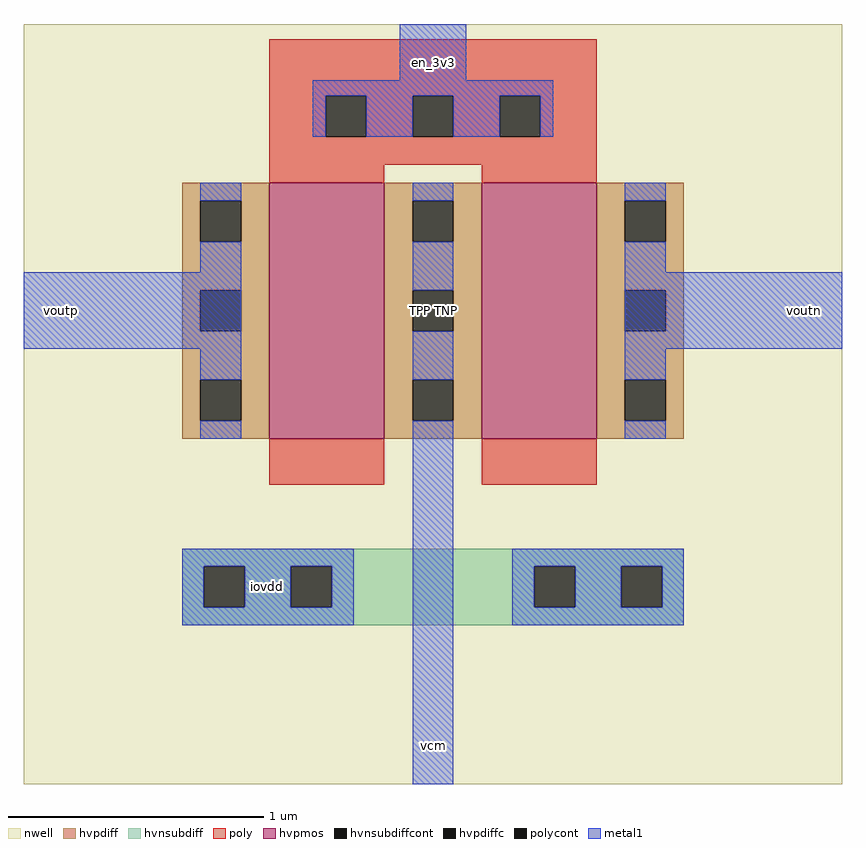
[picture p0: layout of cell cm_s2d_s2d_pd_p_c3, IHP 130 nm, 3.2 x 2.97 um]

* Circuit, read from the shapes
.subckt cm_s2d_s2d_pd_p_c3 iovdd en_3v3 vcm voutp voutn
XM1 vcm en_3v3 voutp iovdd sg13_hv_pmos w=1u l=0.45u
XM2 voutn en_3v3 vcm iovdd sg13_hv_pmos w=1u l=0.45u
.ends

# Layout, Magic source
magic
tech ihp-sg13cmos5l
magscale 1 2
<< nwell >>
rect 0 0 640 594
<< hvnsubdiff >>
rect 124 170 516 184
rect 124 138 141 170
rect 173 138 209 170
rect 241 138 399 170
rect 431 138 467 170
rect 499 138 516 170
rect 124 124 516 138
<< hvnsubdiffcont >>
rect 141 138 173 170
rect 209 138 241 170
rect 399 138 431 170
rect 467 138 499 170
<< poly >>
rect 192 538 448 582
rect 192 506 236 538
rect 268 506 304 538
rect 336 506 372 538
rect 404 506 448 538
rect 192 484 448 506
rect 192 470 282 484
rect 358 470 448 484
<< polycont >>
rect 236 506 268 538
rect 304 506 336 538
rect 372 506 404 538
<< metal1 >>
rect 294 550 346 594
rect 226 538 414 550
rect 226 506 236 538
rect 268 506 304 538
rect 336 506 372 538
rect 404 506 414 538
rect 0 340 170 400
rect 470 340 640 400
rect 124 170 258 184
rect 124 138 141 170
rect 173 138 209 170
rect 241 138 258 170
rect 124 124 258 138
rect 304 0 336 270
rect 382 170 516 184
rect 382 138 399 170
rect 431 138 467 170
rect 499 138 516 170
rect 382 124 516 138
use cm_s2d_pmosHV_w2_l0p45_ng2  cm_s2d_pmosHV_w2_l0p45_ng2_0
transform 1 0 124 0 1 270
box -124 -124 516 324
<< labels >>
rlabel comment s 320 370 320 370 4 TPP  TNP
rlabel metal1 s 124 124 258 184 4 iovdd
port 2 nsew
rlabel metal1 s 294 534 346 594 4 en_3v3
port 3 nsew
rlabel metal1 s 304 0 336 60 4 vcm
port 4 nsew
rlabel metal1 s 0 340 60 400 4 voutp
port 5 nsew
rlabel metal1 s 580 340 640 400 4 voutn
port 6 nsew
<< properties >>
string GDS_END 365132
string GDS_FILE custom_io/gds/sg13cmos5l_IOPadSingle2Diff.uniq.gds
string GDS_START 363226
<< end >>

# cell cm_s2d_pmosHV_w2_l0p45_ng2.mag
magic
tech ihp-sg13cmos5l
magscale 1 2
<< nwell >>
rect -124 -124 516 324
<< hvpmos >>
rect 68 0 158 200
rect 234 0 324 200
<< hvpdiff >>
rect 0 186 68 200
rect 0 154 14 186
rect 46 154 68 186
rect 0 116 68 154
rect 0 84 14 116
rect 46 84 68 116
rect 0 46 68 84
rect 0 14 14 46
rect 46 14 68 46
rect 0 0 68 14
rect 158 186 234 200
rect 158 154 180 186
rect 212 154 234 186
rect 158 116 234 154
rect 158 84 180 116
rect 212 84 234 116
rect 158 46 234 84
rect 158 14 180 46
rect 212 14 234 46
rect 158 0 234 14
rect 324 186 392 200
rect 324 154 346 186
rect 378 154 392 186
rect 324 116 392 154
rect 324 84 346 116
rect 378 84 392 116
rect 324 46 392 84
rect 324 14 346 46
rect 378 14 392 46
rect 324 0 392 14
<< hvpdiffc >>
rect 14 154 46 186
rect 14 84 46 116
rect 14 14 46 46
rect 180 154 212 186
rect 180 84 212 116
rect 180 14 212 46
rect 346 154 378 186
rect 346 84 378 116
rect 346 14 378 46
<< poly >>
rect 68 200 158 236
rect 234 200 324 236
rect 68 -36 158 0
rect 234 -36 324 0
<< metal1 >>
rect 14 186 46 200
rect 14 116 46 154
rect 14 46 46 84
rect 14 0 46 14
rect 180 186 212 200
rect 180 116 212 154
rect 180 46 212 84
rect 180 0 212 14
rect 346 186 378 200
rect 346 116 378 154
rect 346 46 378 84
rect 346 0 378 14
<< labels >>
flabel comment s 113 100 113 100 0 FreeSans 200 90 0 0 pmosHV
<< properties >>
string GDS_END 37844
string GDS_FILE custom_io/gds/sg13cmos5l_IOPadSingle2Diff.uniq.gds
string GDS_START 35970
<< end >>
